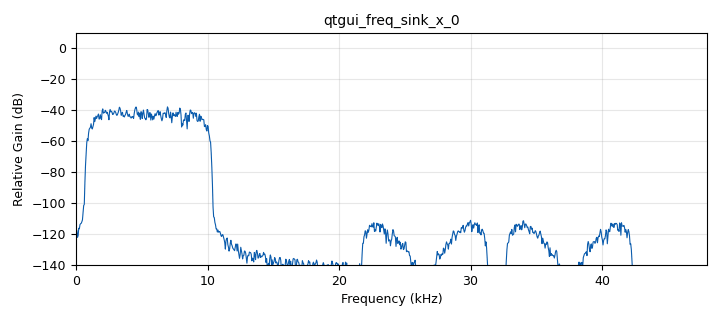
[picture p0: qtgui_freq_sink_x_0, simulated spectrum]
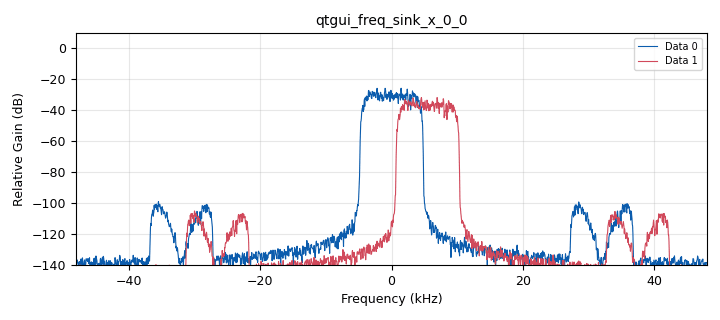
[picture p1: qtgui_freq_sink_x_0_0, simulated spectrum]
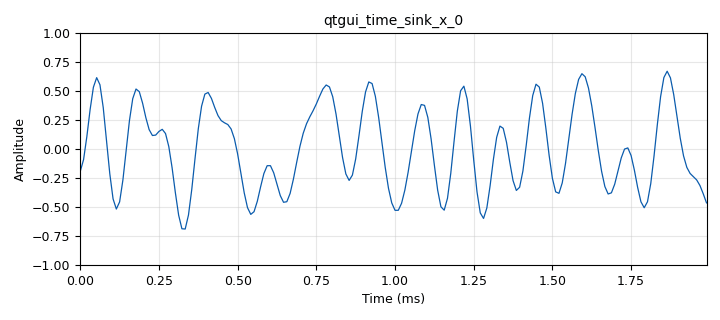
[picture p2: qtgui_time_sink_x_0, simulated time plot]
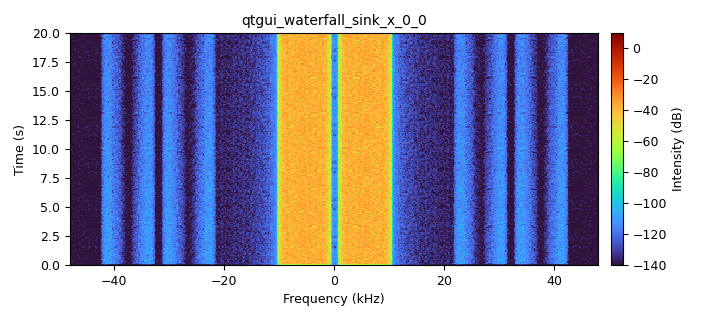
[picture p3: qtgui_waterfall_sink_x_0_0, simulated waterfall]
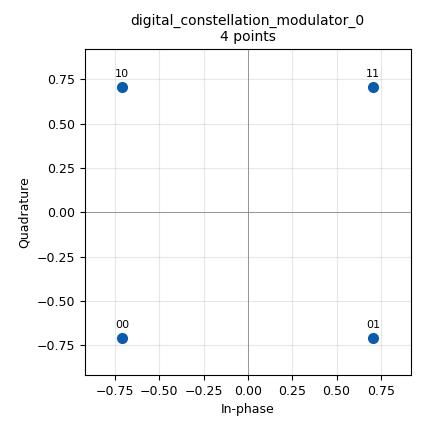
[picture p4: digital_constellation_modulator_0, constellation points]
<?xml version='1.0' encoding='utf-8'?>
<?grc format='1' created='3.7.13'?>
<flow_graph>
<block>
<key>options</key>
<param><key>id</key><value>top_block</value></param>
<param><key>generate_options</key><value>qt_gui</value></param>
</block>
<block>
<key>variable</key>
<param><key>id</key><value>P_pt</value></param>
<param><key>value</key><value>-120</value></param>
</block>
<block>
<key>variable</key>
<param><key>id</key><value>amplitude_const</value></param>
<param><key>value</key><value>.5</value></param>
</block>
<block>
<key>variable</key>
<param><key>id</key><value>analog_bw</value></param>
<param><key>value</key><value>baud_rate*(1.0+excess_bw)</value></param>
</block>
<block>
<key>variable</key>
<param><key>id</key><value>baud_rate</value></param>
<param><key>value</key><value>samp_rate/sps</value></param>
</block>
<block>
<key>variable</key>
<param><key>id</key><value>bitrate</value></param>
<param><key>value</key><value>my_con.bits_per_symbol()*baud_rate</value></param>
</block>
<block>
<key>variable</key>
<param><key>id</key><value>excess_bw</value></param>
<param><key>value</key><value>.2</value></param>
</block>
<block>
<key>variable</key>
<param><key>id</key><value>fc</value></param>
<param><key>value</key><value>5500</value></param>
</block>
<block>
<key>variable</key>
<param><key>id</key><value>fpt</value></param>
<param><key>value</key><value>16000</value></param>
</block>
<block>
<key>variable</key>
<param><key>id</key><value>len_taps</value></param>
<param><key>value</key><value>len(rrc_taps)</value></param>
</block>
<block>
<key>variable</key>
<param><key>id</key><value>my_con</value></param>
<param><key>_enabled</key><value>0</value></param>
<param><key>value</key><value>digital.constellation_16qam().base()</value></param>
</block>
<block>
<key>variable</key>
<param><key>id</key><value>my_con</value></param>
<param><key>_enabled</key><value>0</value></param>
<param><key>value</key><value>digital.constellation_bpsk().base()</value></param>
</block>
<block>
<key>variable</key>
<param><key>id</key><value>my_con</value></param>
<param><key>value</key><value>digital.constellation_qpsk().base()</value></param>
</block>
<block>
<key>variable</key>
<param><key>id</key><value>my_con</value></param>
<param><key>_enabled</key><value>0</value></param>
<param><key>value</key><value>digital.qam_constellation(64).base()</value></param>
</block>
<block>
<key>variable</key>
<param><key>id</key><value>my_con</value></param>
<param><key>_enabled</key><value>0</value></param>
<param><key>value</key><value>digital.qam_constellation(256).base()</value></param>
</block>
<block>
<key>variable</key>
<param><key>id</key><value>my_con</value></param>
<param><key>_enabled</key><value>0</value></param>
<param><key>value</key><value>digital.qam_constellation(1024).base()</value></param>
</block>
<block>
<key>variable</key>
<param><key>id</key><value>nfilts</value></param>
<param><key>value</key><value>16</value></param>
</block>
<block>
<key>variable</key>
<param><key>id</key><value>ntaps</value></param>
<param><key>value</key><value>int(11*sps*nfilts)</value></param>
</block>
<block>
<key>variable</key>
<param><key>id</key><value>ntaps</value></param>
<param><key>_enabled</key><value>0</value></param>
<param><key>value</key><value>int(sps*nfilts*7)</value></param>
</block>
<block>
<key>variable</key>
<param><key>id</key><value>rrc_taps</value></param>
<param><key>value</key><value>firdes.root_raised_cosine(nfilts,1.0,1.0/(nfilts*sps), excess_bw, ntaps)</value></param>
</block>
<block>
<key>variable</key>
<param><key>id</key><value>samp_rate</value></param>
<param><key>value</key><value>96000</value></param>
</block>
<block>
<key>variable</key>
<param><key>id</key><value>snr</value></param>
<param><key>_enabled</key><value>0</value></param>
<param><key>value</key><value>50</value></param>
</block>
<block>
<key>variable</key>
<param><key>id</key><value>sps</value></param>
<param><key>value</key><value>12</value></param>
</block>
<block>
<key>variable</key>
<param><key>id</key><value>xpd</value></param>
<param><key>_enabled</key><value>0</value></param>
<param><key>value</key><value>30</value></param>
</block>
<block>
<key>analog_random_source_x</key>
<param><key>id</key><value>analog_random_source_x_0</value></param>
<param><key>max</key><value>256</value></param>
<param><key>min</key><value>0</value></param>
<param><key>num_samps</key><value>256</value></param>
<param><key>type</key><value>byte</value></param>
<param><key>repeat</key><value>True</value></param>
</block>
<block>
<key>analog_sig_source_x</key>
<param><key>id</key><value>analog_sig_source_x_0</value></param>
<param><key>amp</key><value>10**(P_pt*.1)</value></param>
<param><key>freq</key><value>fpt</value></param>
<param><key>offset</key><value>0</value></param>
<param><key>type</key><value>complex</value></param>
<param><key>samp_rate</key><value>samp_rate</value></param>
<param><key>waveform</key><value>analog.GR_SIN_WAVE</value></param>
</block>
<block>
<key>audio_sink</key>
<param><key>id</key><value>audio_sink_0</value></param>
<param><key>device_name</key><value>stereo34</value></param>
<param><key>_enabled</key><value>0</value></param>
<param><key>num_inputs</key><value>2</value></param>
<param><key>samp_rate</key><value>samp_rate</value></param>
</block>
<block>
<key>blocks_add_xx</key>
<param><key>id</key><value>blocks_add_xx_0</value></param>
<param><key>type</key><value>complex</value></param>
</block>
<block>
<key>blocks_complex_to_real</key>
<param><key>id</key><value>blocks_complex_to_real_0</value></param>
</block>
<block>
<key>blocks_multiply_const_vxx</key>
<param><key>id</key><value>blocks_multiply_const_vxx_0</value></param>
<param><key>const</key><value>amplitude_const</value></param>
<param><key>type</key><value>complex</value></param>
</block>
<block>
<key>blocks_null_source</key>
<param><key>id</key><value>blocks_null_source_0</value></param>
<param><key>bus_conns</key><value>[[0,],]</value></param>
<param><key>_enabled</key><value>0</value></param>
<param><key>type</key><value>float</value></param>
</block>
<block>
<key>blocks_rotator_cc</key>
<param><key>id</key><value>blocks_rotator_cc_0</value></param>
<param><key>phase_inc</key><value>2*np.pi*fc/samp_rate</value></param>
</block>
<block>
<key>blocks_vector_source_x</key>
<param><key>id</key><value>blocks_vector_source_x_0</value></param>
<param><key>_enabled</key><value>0</value></param>
<param><key>type</key><value>byte</value></param>
<param><key>repeat</key><value>True</value></param>
<param><key>vector</key><value>range(255,-1,-1)</value></param>
</block>
<block>
<key>digital_constellation_modulator</key>
<param><key>id</key><value>digital_constellation_modulator_0</value></param>
<param><key>constellation</key><value>my_con</value></param>
<param><key>differential</key><value>False</value></param>
<param><key>excess_bw</key><value>excess_bw</value></param>
<param><key>samples_per_symbol</key><value>sps</value></param>
</block>
<block>
<key>import</key>
<param><key>id</key><value>import_0</value></param>
<param><key>import</key><value>from gnuradio import digital</value></param>
</block>
<block>
<key>import</key>
<param><key>id</key><value>import_0_0</value></param>
<param><key>import</key><value>import numpy as np</value></param>
</block>
<block>
<key>qtgui_freq_sink_x</key>
<param><key>id</key><value>qtgui_freq_sink_x_0</value></param>
<param><key>average</key><value>0.05</value></param>
<param><key>bw</key><value>samp_rate</value></param>
<param><key>fc</key><value>0</value></param>
<param><key>fftsize</key><value>2048</value></param>
<param><key>showports</key><value>True</value></param>
<param><key>freqhalf</key><value>False</value></param>
<param><key>type</key><value>float</value></param>
<param><key>wintype</key><value>firdes.WIN_BLACKMAN_hARRIS</value></param>
</block>
<block>
<key>qtgui_freq_sink_x</key>
<param><key>id</key><value>qtgui_freq_sink_x_0_0</value></param>
<param><key>average</key><value>0.05</value></param>
<param><key>bw</key><value>samp_rate</value></param>
<param><key>fc</key><value>0</value></param>
<param><key>fftsize</key><value>2048</value></param>
<param><key>label2</key><value></value></param>
<param><key>nconnections</key><value>2</value></param>
<param><key>showports</key><value>True</value></param>
<param><key>freqhalf</key><value>False</value></param>
<param><key>type</key><value>complex</value></param>
<param><key>wintype</key><value>firdes.WIN_BLACKMAN_hARRIS</value></param>
</block>
<block>
<key>qtgui_time_sink_x</key>
<param><key>id</key><value>qtgui_time_sink_x_0</value></param>
<param><key>color1</key><value>"blue"</value></param>
<param><key>label1</key><value></value></param>
<param><key>size</key><value>sps*16</value></param>
<param><key>srate</key><value>samp_rate</value></param>
<param><key>type</key><value>float</value></param>
<param><key>update_time</key><value>1</value></param>
</block>
<block>
<key>qtgui_waterfall_sink_x</key>
<param><key>id</key><value>qtgui_waterfall_sink_x_0_0</value></param>
<param><key>bw</key><value>samp_rate</value></param>
<param><key>fc</key><value>0</value></param>
<param><key>fftsize</key><value>1024</value></param>
<param><key>showports</key><value>True</value></param>
<param><key>type</key><value>float</value></param>
<param><key>wintype</key><value>firdes.WIN_BLACKMAN_hARRIS</value></param>
</block>
<connection><source_block_id>analog_random_source_x_0</source_block_id><sink_block_id>digital_constellation_modulator_0</sink_block_id><source_key>0</source_key><sink_key>0</sink_key></connection>
<connection><source_block_id>analog_sig_source_x_0</source_block_id><sink_block_id>blocks_add_xx_0</sink_block_id><source_key>0</source_key><sink_key>1</sink_key></connection>
<connection><source_block_id>blocks_add_xx_0</source_block_id><sink_block_id>blocks_multiply_const_vxx_0</sink_block_id><source_key>0</source_key><sink_key>0</sink_key></connection>
<connection><source_block_id>blocks_complex_to_real_0</source_block_id><sink_block_id>audio_sink_0</sink_block_id><source_key>0</source_key><sink_key>0</sink_key></connection>
<connection><source_block_id>blocks_complex_to_real_0</source_block_id><sink_block_id>qtgui_freq_sink_x_0</sink_block_id><source_key>0</source_key><sink_key>0</sink_key></connection>
<connection><source_block_id>blocks_complex_to_real_0</source_block_id><sink_block_id>qtgui_time_sink_x_0</sink_block_id><source_key>0</source_key><sink_key>0</sink_key></connection>
<connection><source_block_id>blocks_complex_to_real_0</source_block_id><sink_block_id>qtgui_waterfall_sink_x_0_0</sink_block_id><source_key>0</source_key><sink_key>0</sink_key></connection>
<connection><source_block_id>blocks_multiply_const_vxx_0</source_block_id><sink_block_id>blocks_complex_to_real_0</sink_block_id><source_key>0</source_key><sink_key>0</sink_key></connection>
<connection><source_block_id>blocks_multiply_const_vxx_0</source_block_id><sink_block_id>qtgui_freq_sink_x_0_0</sink_block_id><source_key>0</source_key><sink_key>1</sink_key></connection>
<connection><source_block_id>blocks_null_source_0</source_block_id><sink_block_id>audio_sink_0</sink_block_id><source_key>0</source_key><sink_key>1</sink_key></connection>
<connection><source_block_id>blocks_rotator_cc_0</source_block_id><sink_block_id>blocks_add_xx_0</sink_block_id><source_key>0</source_key><sink_key>0</sink_key></connection>
<connection><source_block_id>digital_constellation_modulator_0</source_block_id><sink_block_id>blocks_rotator_cc_0</sink_block_id><source_key>0</source_key><sink_key>0</sink_key></connection>
<connection><source_block_id>digital_constellation_modulator_0</source_block_id><sink_block_id>qtgui_freq_sink_x_0_0</sink_block_id><source_key>0</source_key><sink_key>0</sink_key></connection>
</flow_graph>
